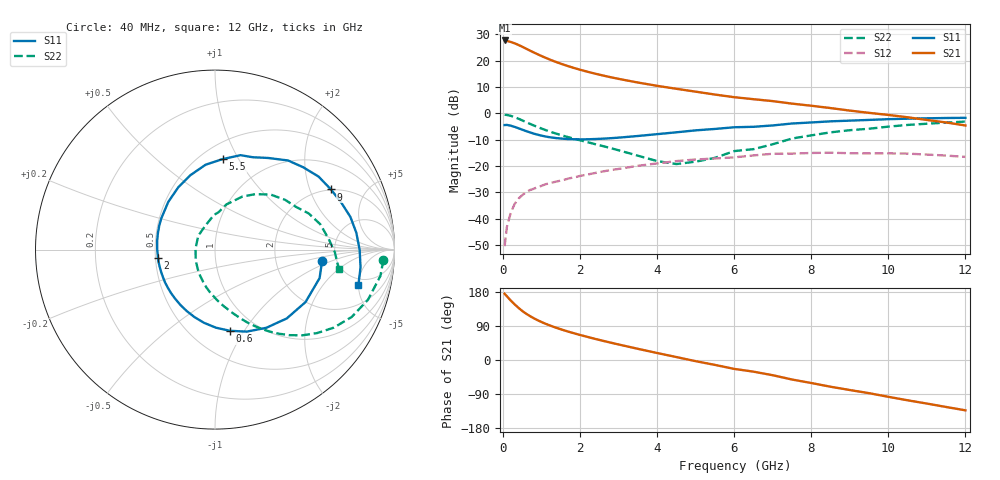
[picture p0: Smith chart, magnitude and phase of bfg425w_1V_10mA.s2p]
! Filename: 110bfg425.001
! BFG425W Field C1
! V1=8.540E-001V,V2=1.000E+000V, I1=1.458E-004A, I2=1.002E-002A
# GHz  S  MA  R 50
!  S11  S21  S12  S22
!Freq(GHz)  Mag  Ang  Mag  Ang  Mag  Ang  Mag  Ang
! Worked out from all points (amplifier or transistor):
!   44 points, 40 MHz to 12 GHz, reference 50 ohm
!   highest |S21| = 27.7 dB at 40 MHz (marker M1)
!   |S21| within 3 dB of that: start of sweep to 582 MHz
!   unconditionally stable (mu >= 1): 1.784 GHz to end of sweep
!   at 700 MHz: K = 0.55, MSG = 26.5 dB, |S12| = -29.1 dB
!   at 2.4 GHz: K = 1.12, MAG = 16.7 dB, |S12| = -22.6 dB
!   at 12 GHz: K = 1.39, MAG = 2.3 dB, |S12| = -16.5 dB
!   S11 on the Smith chart (normalised r, x): 40 MHz: 3.83, -0.78; 600 MHz: 0.75, -0.87; 2 GHz: 0.52, -0.05; 5.5 GHz: 0.64, +0.86; 9 GHz: 1.98, +2.82; 12 GHz: 4.03, -4.96
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0.04  0.6 -6.2  24.29 174.9  0.003 75.8  0.94 -3.5
0.1  0.604 -15.3  23.74 168.1  0.007 82.5  0.933 -9.1
0.2  0.583 -30.1  22.72 156.8  0.013 75.2  0.897 -18.2
0.3  0.554 -43.8  21.46 146.9  0.019 69.4  0.849 -26.3
0.4  0.521 -56.8  19.95 137.7  0.024 64.2  0.792 -33.3
0.5  0.49 -68.8  18.43 129.2  0.028 60.0  0.735 -39.3
0.6  0.46 -79.6  16.93 122.1  0.032 56.5  0.682 -44.4
0.8  0.412 -98.7  14.34 110.0  0.037 51.5  0.588 -52.8
0.9  0.393 -106.9  13.25 104.8  0.04 49.8  0.549 -56.3
1.1  0.364 -121.8  11.4 95.7  0.045 47.0  0.483 -62.3
1.3  0.345 -134.9  9.942 87.9  0.049 45.0  0.43 -67.4
1.5  0.333 -146.7  8.79 81.0  0.053 43.2  0.387 -72.0
2  0.321 -171.6  6.746 66.1  0.065 39.1  0.308 -82.9
2.2  0.322 179.7  6.159 60.7  0.069 37.3  0.283 -87.4
3  0.346 149.9  4.524 40.9  0.088 28.8  0.199 -108.1
4.5  0.437 108.2  2.931 7.7  0.124 8.5  0.109 177.7
5.5  0.506 85.2  2.278 -13.0  0.139 -6.5  0.143 112.5
6.5  0.556 67.7  1.86 -30.8  0.159 -18.5  0.209 84.6
8.5  0.706 35.2  1.262 -70.5  0.179 -54.1  0.436 44.7
9  0.728 27.4  1.129 -79.2  0.175 -61.9  0.479 35.4
10.5  0.793 6.8  0.843 -106.3  0.172 -87.5  0.603 13.6
12  0.823 -14.0  0.589 -132.8  0.149 -115.8  0.699 -9.0
